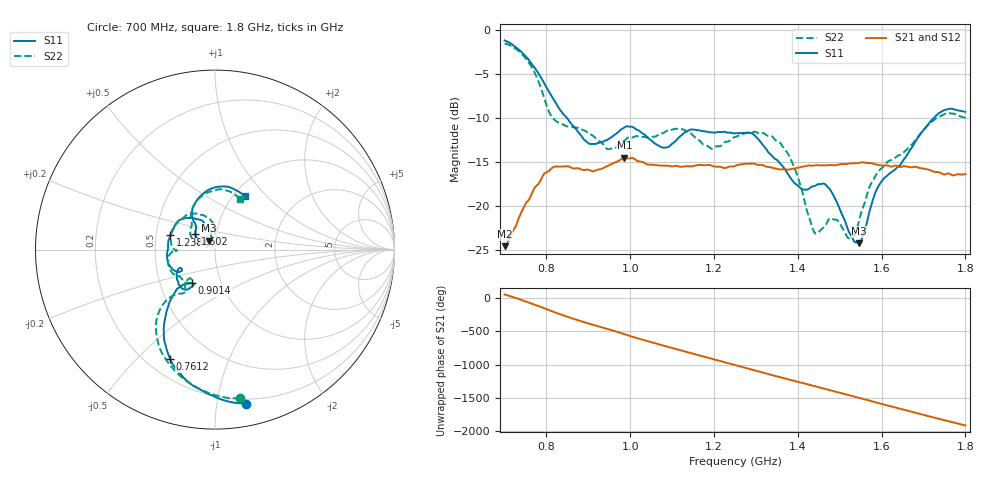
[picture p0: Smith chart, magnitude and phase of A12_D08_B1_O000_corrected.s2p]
! Created with skrf 1.9.0 (http://scikit-rf.org).
# Hz S RI R 50.0
!freq ReS11 ImS11 ReS21 ImS21 ReS12 ImS12 ReS22 ImS22
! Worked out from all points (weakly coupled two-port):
!   1601 points, 700 MHz to 1.8 GHz, reference 50 ohm
!   highest |S21| = -14.51 dB at 986 MHz (marker M1); lowest = -24.6 dB at 700.7 MHz (marker M2)
!   lowest |S11| = -24.3 dB at 1.546 GHz (marker M3), VSWR 1.13, Z = 46.5 + j4.72 ohm
!   |S11| at or under -10 dB: 849 MHz to 1.724 GHz (875.3 MHz wide, 68 % of centre)
!   |S22| runs from -23.7 to -1.5 dB; largest |S21 - S12| = 0.0037
!   S11 on the Smith chart (normalised r, x): 700 MHz: 0.17, -1.21; 761.2 MHz: 0.29, -0.63; 901.4 MHz: 0.72, -0.28; 1.238 GHz: 0.60, +0.10; 1.602 GHz: 0.79, +0.14; 1.8 GHz: 1.12, +0.76
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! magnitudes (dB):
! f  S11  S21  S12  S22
! 700 MHz  -1.2  -24.6  -24.4  -1.5
! 700.7 MHz  -1.2  -24.6  -24.3  -1.5
! 761.2 MHz  -3.6  -19.0  -18.9  -3.9
! 814.8 MHz  -7.7  -15.6  -15.7  -10.0
! 883.6 MHz  -12.1  -15.9  -15.8  -11.3
! 901.4 MHz  -12.9  -15.9  -15.9  -11.8
! 947.5 MHz  -12.4  -15.4  -15.4  -13.6
! 986 MHz  -11.1  -14.5  -14.6  -12.6
! 1.067 GHz  -13.1  -15.4  -15.4  -11.9
! 1.238 GHz  -11.7  -15.5  -15.6  -12.5
! 1.25 GHz  -11.8  -15.5  -15.4  -12.2
! 1.293 GHz  -11.8  -15.2  -15.2  -11.6
! 1.359 GHz  -15.2  -15.9  -15.8  -12.9
! 1.394 GHz  -17.5  -15.7  -15.7  -15.9
! 1.434 GHz  -17.8  -15.4  -15.4  -22.3
! 1.474 GHz  -18.0  -15.4  -15.4  -21.5
! 1.523 GHz  -23.1  -15.2  -15.2  -23.7
! 1.546 GHz  -24.3  -15.1  -15.1  -21.6
! 1.602 GHz  -17.1  -15.4  -15.4  -15.6
! 1.617 GHz  -16.4  -15.4  -15.4  -14.9
! 1.734 GHz  -9.6  -16.1  -16.2  -9.9
! 1.8 GHz  -9.3  -16.4  -16.4  -10.0
